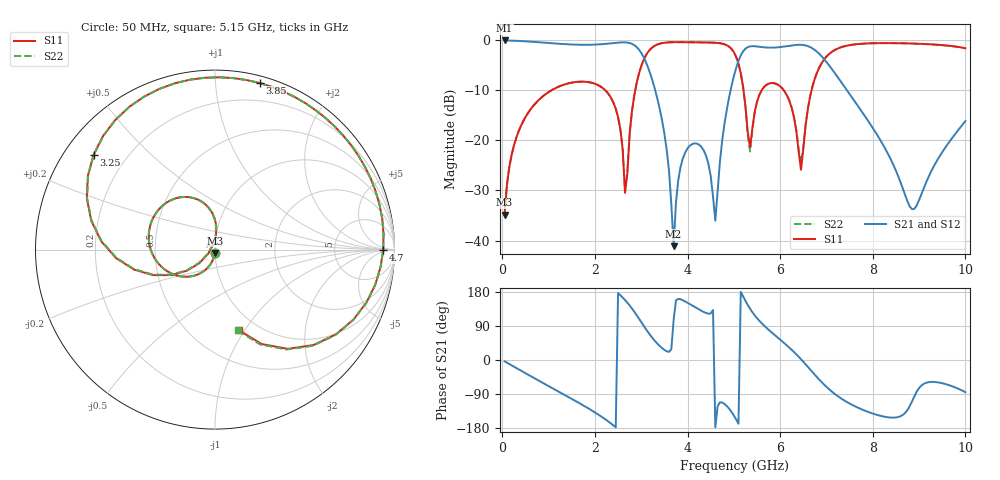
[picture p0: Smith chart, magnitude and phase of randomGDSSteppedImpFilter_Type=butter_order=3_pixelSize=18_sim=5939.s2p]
! freq	dB(S11)	phase(S11)	dB(S12)	phase(S12)
!  dB(S21)	phase(S21)	dB(S22)	phase(S22)
!S-par simulation data
#  GHz  S  DB  R 50
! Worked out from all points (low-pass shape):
!   200 points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, 50 MHz to 10 GHz, reference 50 ohm
!   highest |S21| = -0.01 dB at 50 MHz (marker M1); lowest = -41.1 dB at 3.7 GHz (marker M2)
!   |S21| within 3 dB of the highest: start of sweep to 3.031 GHz; 5.149 GHz to 6.878 GHz (1.729 GHz wide, 28.7 % of centre)
!   lowest |S11| = -34.8 dB at 50 MHz (marker M3), VSWR 1.04, Z = 49.9 - j1.81 ohm
!   |S11| at or under -10 dB: start of sweep to 1.057 GHz; 2.226 GHz to 2.871 GHz (644.4 MHz wide, 25.3 % of centre); 6.08 GHz to 6.678 GHz (598.3 MHz wide, 9.38 % of centre) (the widest 3 of 4)
!   |S22| runs from -34.8 to -0.3 dB; largest |S21 - S12| = 0
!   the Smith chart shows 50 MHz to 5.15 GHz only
!   S11 on the Smith chart (normalised r, x): 50 MHz: 1.00, -0.04; 3.25 GHz: 0.08, +0.34; 3.85 GHz: 0.05, +1.30; 4.7 GHz: 31, -1; 5.15 GHz: 0.82, -0.95
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0.05  -34.83 -93.1  -0.01 -3.6  -0.01 -3.6  -34.83 -93.1
0.5  -15.33 -125.3  -0.18 -34.8  -0.18 -34.8  -15.33 -125.3
1.75  -8.24 149.7  -0.87 -119.9  -0.87 -119.9  -8.24 149.7
2.45  -13.66 94.5  -0.49 -177.9  -0.49 -177.9  -13.66 94.9
2.65  -30.47 108.6  -0.39 158.3  -0.39 158.3  -30.07 111.4
3.25  -1.32 141.9  -8.26 56.9  -8.26 56.9  -1.32 141.7
3.4  -0.65 121.1  -13.71 36.9  -13.71 36.9  -0.65 120.8
3.7  -0.35 88.6  -41.13 105.5  -41.13 105.5  -0.35 88.4
3.85  -0.35 75.0  -25.27 160.2  -25.27 160.2  -0.35 74.9
4.35  -0.40 33.4  -21.99 126.8  -21.99 126.8  -0.40 33.2
4.6  -0.47 10.5  -36.05 -177.6  -36.05 -177.6  -0.47 10.3
4.7  -0.56 -0.1  -24.14 -111.6  -24.14 -111.6  -0.57 -0.4
5.05  -3.27 -53.7  -5.49 -156.9  -5.49 -156.9  -3.29 -54.4
5.15  -6.56 -73.3  -2.99 179.8  -2.99 179.8  -6.60 -74.4
5.35  -21.36 -25.9  -1.19 135.3  -1.19 135.3  -22.20 -24.1
5.75  -8.66 -11.6  -1.44 79.8  -1.44 79.8  -8.66 -10.6
6.45  -25.85 0.3  -0.88 2.1  -0.88 2.1  -24.53 0.4
6.7  -9.15 47.6  -1.61 -32.2  -1.61 -32.2  -9.11 46.1
7.3  -1.41 -14.2  -8.09 -100.1  -8.09 -100.1  -1.41 -14.6
8.35  -0.54 -73.8  -23.06 -151.5  -23.06 -151.5  -0.54 -74.0
8.9  -0.64 -97.4  -33.64 -94.9  -33.64 -94.9  -0.64 -97.6
10  -1.57 -152.4  -16.12 -84.9  -16.12 -84.9  -1.58 -152.9
